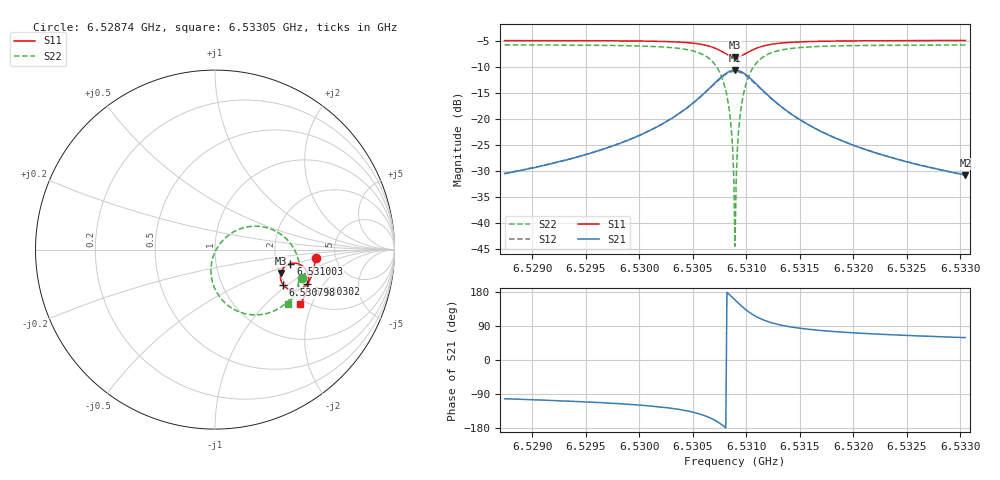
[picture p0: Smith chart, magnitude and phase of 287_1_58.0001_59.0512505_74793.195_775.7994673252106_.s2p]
#  HZ  S  RI  R  50.00
! Rohde & Schwarz Vector Network Analyzer
! Rohde-Schwarz,ZNB20-2Port,1311601062101988,3.16
! Created: UTC 3/21/2024, 1:03:07 AM
! freq[Hz]  re:S11  im:S11  re:S21  im:S21  re:S12  im:S12  re:S22  im:S22
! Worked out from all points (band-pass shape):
!   401 points, 6.52874 GHz to 6.53305 GHz, reference 50 ohm
!   highest |S21| = -10.67 dB at 6.530895 GHz (marker M1); lowest = -30.9 dB at 6.53305 GHz (marker M2)
!   |S21| within 3 dB of the highest: 6.53068 GHz to 6.531111 GHz (431.2 kHz wide, 0.0066 % of centre)
!   lowest |S11| = -8.2 dB at 6.530895 GHz (marker M3), VSWR 2.28, Z = 102 - j31.1 ohm
!   |S11| at or under -10 dB: nowhere
!   |S22| runs from -44.5 to -5.8 dB; largest |S21 - S12| = 0.011
!   S11 on the Smith chart (normalised r, x): 6.52874 GHz: 3.50, -0.46; 6.530302 GHz: 2.58, -1.40; 6.530798 GHz: 1.93, -0.92; 6.531003 GHz: 2.39, -0.46; 6.53305 GHz: 1.86, -1.65
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6.52874e9  0.5602 -0.0451  -0.00633 -0.0291  -0.00687 -0.0291  0.4865 -0.1568
6.5294619e9  0.551 -0.1048  -0.0153 -0.0414  -0.0162 -0.0412  0.4567 -0.2218
6.5301838e9  0.5242 -0.1754  -0.0473 -0.0712  -0.0492 -0.07  0.3788 -0.3119
6.5303023e9  0.5145 -0.1894  -0.0612 -0.0798  -0.0637 -0.078  0.3494 -0.3313
6.5306471e9  0.4448 -0.2269  -0.1681 -0.0937  -0.1699 -0.0867  0.15 -0.3522
6.5307333e9  0.408 -0.2195  -0.2247 -0.0664  -0.2235 -0.0572  0.0562 -0.2972
6.530798e9  0.3792 -0.1958  -0.2665 -0.0159  -0.2613 -0.00648  -0.00579 -0.2057
6.5308411e9  0.3666 -0.1693  -0.2819 0.0346  -0.2737 0.0423  -0.0225 -0.1195
6.5308626e9  0.3643 -0.1538  -0.2826 0.0634  -0.2732 0.0697  -0.0184 -0.0722
6.5308734e9  0.3645 -0.1457  -0.2807 0.0781  -0.271 0.0834  -0.013 -0.0486
6.5308842e9  0.3653 -0.1376  -0.2774 0.0924  -0.2674 0.097  -0.0052 -0.0256
6.5308949e9  0.3672 -0.1296  -0.2727 0.1067  -0.2624 0.1105  0.00503 -0.00324
6.5309057e9  0.3699 -0.1218  -0.2667 0.1204  -0.2564 0.1232  0.0173 0.018
6.5309165e9  0.3734 -0.1144  -0.2592 0.1333  -0.2491 0.1351  0.0317 0.0377
6.5309273e9  0.3777 -0.1076  -0.2507 0.1453  -0.2408 0.1463  0.0477 0.0558
6.5309488e9  0.3881 -0.0957  -0.2307 0.1662  -0.2216 0.1657  0.0838 0.0864
6.5310027e9  0.4197 -0.0782  -0.1734 0.197  -0.1667 0.1944  0.1835 0.1272
6.5310781e9  0.4608 -0.0782  -0.1014 0.1993  -0.0978 0.1966  0.3041 0.1173
6.5311859e9  0.4966 -0.0999  -0.0394 0.1699  -0.0378 0.1686  0.404 0.0535
6.5316168e9  0.5216 -0.1785  0.0145 0.0823  0.0155 0.0821  0.4729 -0.131
6.5323388e9  0.5024 -0.2507  0.0169 0.0395  0.0175 0.0393  0.4446 -0.245
6.5330499e9  0.4753 -0.3034  0.0147 0.0246  0.0154 0.0245  0.4094 -0.3053
